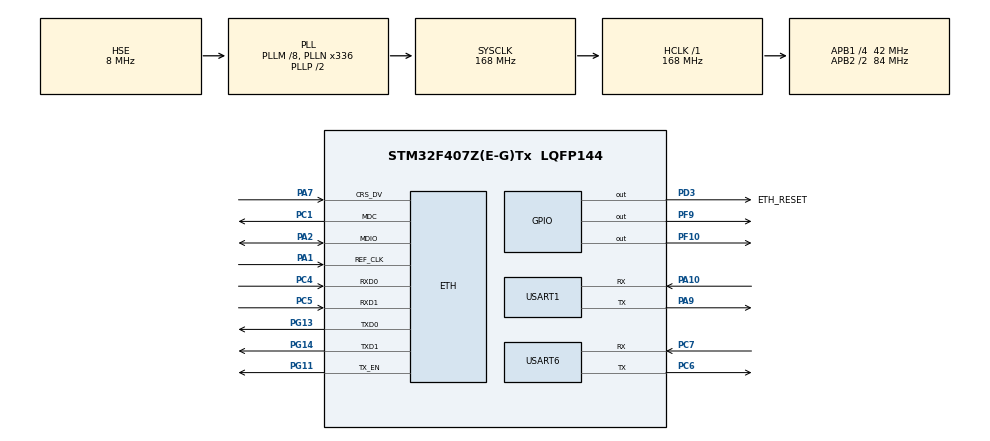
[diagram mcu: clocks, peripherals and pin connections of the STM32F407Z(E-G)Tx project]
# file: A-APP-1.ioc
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ETH.MediaInterface=HAL_ETH_RMII_MODE
FREERTOS.Tasks01=defaultTask,24,128,StartDefaultTask,Default,NULL,Dynamic,NULL,NULL
IWDG.Prescaler=IWDG_PRESCALER_64
IWDG.Reload=2499
LWIP.BSP.number=1
LWIP.GATEWAY_ADDRESS=192.168.010.001
LWIP.IP_ADDRESS=192.168.010.002
LWIP.LWIP_DHCP=0
LWIP.LWIP_UDP=0
LWIP.NETMASK_ADDRESS=255.255.255.000
LWIP.Version=v2.1.2_Cube
LWIP0.BSP.STBoard=false
LWIP0.BSP.api=BSP_COMPONENT_DRIVER
LWIP0.BSP.component=USER_PHY
LWIP0.BSP.instance=USER_PHY
LWIP0.BSP.name=Driver_PHY
LWIP0.BSP.semaphore=S_USER_PHY
LWIP0.BSP.solution=USER_PHY
Mcu.Family=STM32F4
Mcu.Name=STM32F407Z(E-G)Tx
Mcu.Package=LQFP144
NVIC.ETH_IRQn=true\:5\:0\:false\:false\:true\:true\:false\:true\:true
NVIC.PriorityGroup=NVIC_PRIORITYGROUP_4
NVIC.TIM6_DAC_IRQn=true\:15\:0\:false\:false\:true\:false\:false\:true\:true
NVIC.TimeBase=TIM6_DAC_IRQn
NVIC.TimeBaseIP=TIM6
NVIC.USART1_IRQn=true\:5\:0\:true\:false\:true\:true\:true\:true\:true
PA1.Mode=RMII
PA1.Signal=ETH_REF_CLK
PA10.Mode=Asynchronous
PA10.Signal=USART1_RX
PA13.Mode=Serial_Wire
PA13.Signal=SYS_JTMS-SWDIO
PA14.Mode=Serial_Wire
PA14.Signal=SYS_JTCK-SWCLK
PA2.Mode=RMII
PA2.Signal=ETH_MDIO
PA7.Mode=RMII
PA7.Signal=ETH_CRS_DV
PA9.Mode=Asynchronous
PA9.Signal=USART1_TX
PC1.Mode=RMII
PC1.Signal=ETH_MDC
PC14-OSC32_IN.Mode=LSE-External-Oscillator
PC14-OSC32_IN.Signal=RCC_OSC32_IN
PC15-OSC32_OUT.Mode=LSE-External-Oscillator
PC15-OSC32_OUT.Signal=RCC_OSC32_OUT
PC4.Mode=RMII
PC4.Signal=ETH_RXD0
PC5.Mode=RMII
PC5.Signal=ETH_RXD1
PC6.Mode=Asynchronous
PC6.Signal=USART6_TX
PC7.Mode=Asynchronous
PC7.Signal=USART6_RX
PD3.GPIO_Label=ETH_RESET
PD3.Signal=GPIO_Output
PF10.GPIO_PuPd=GPIO_PULLUP
PF10.PinState=GPIO_PIN_SET
PF10.Signal=GPIO_Output
PF9.GPIO_ModeDefaultOutputPP=GPIO_MODE_OUTPUT_PP
PF9.GPIO_PuPd=GPIO_PULLUP
PF9.PinState=GPIO_PIN_SET
PF9.Signal=GPIO_Output
PG11.Mode=RMII
PG11.Signal=ETH_TX_EN
PG13.Mode=RMII
PG13.Signal=ETH_TXD0
PG14.Mode=RMII
PG14.Signal=ETH_TXD1
PH0-OSC_IN.Mode=HSE-External-Oscillator
PH0-OSC_IN.Signal=RCC_OSC_IN
PH1-OSC_OUT.Mode=HSE-External-Oscillator
PH1-OSC_OUT.Signal=RCC_OSC_OUT
ProjectManager.HeapSize=0x200
ProjectManager.StackSize=0x400
ProjectManager.TargetToolchain=MDK-ARM V5.32
RCC.48MHZClocksFreq_Value=84000000
RCC.AHBFreq_Value=168000000
RCC.APB1CLKDivider=RCC_HCLK_DIV4
RCC.APB1Freq_Value=42000000
RCC.APB1TimFreq_Value=84000000
RCC.APB2CLKDivider=RCC_HCLK_DIV2
RCC.APB2Freq_Value=84000000
RCC.APB2TimFreq_Value=168000000
RCC.CortexFreq_Value=168000000
RCC.HCLKFreq_Value=168000000
RCC.HSE_VALUE=8000000
RCC.HSI_VALUE=16000000
RCC.PLLM=8
RCC.PLLN=336
RCC.PLLSourceVirtual=RCC_PLLSOURCE_HSE
RCC.SYSCLKFreq_VALUE=168000000
RCC.SYSCLKSource=RCC_SYSCLKSOURCE_PLLCLK
RCC.VCOOutputFreq_Value=336000000
USART1.VirtualMode=VM_ASYNC
USART6.VirtualMode=VM_ASYNC
VP_FREERTOS_VS_CMSIS_V2.Mode=CMSIS_V2
VP_IWDG_VS_IWDG.Mode=IWDG_Activate
VP_LWIP_VS_Enabled.Mode=Enabled
VP_SYS_VS_tim6.Mode=TIM6
board=custom

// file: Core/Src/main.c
/* USER CODE BEGIN Header */
/**
  ******************************************************************************
  * @file           : main.c
  * @brief          : Main program body
  ******************************************************************************
  * @attention
  *
  * Copyright (c) 2026 STMicroelectronics.
  * All rights reserved.
  *
  * This software is licensed under terms that can be found in the LICENSE file
  * in the root directory of this software component.
  * If no LICENSE file comes with this software, it is provided AS-IS.
  *
  ******************************************************************************
  */
/* USER CODE END Header */
#include "main.h"
#include "cmsis_os.h"
#include "iwdg.h"
#include "lwip.h"
#include "usart.h"
#include "gpio.h"

/* USER CODE BEGIN Includes */
#include "app_trial.h"
#include "ethernetif.h"
#include "netif.h"
#include "lwip.h"
/* USER CODE END Includes */

void SystemClock_Config(void);
void MX_FREERTOS_Init(void);

int main(void)
{

  /* USER CODE BEGIN 1 */
  int32_t phy_link_state;
  /* USER CODE END 1 */

  /* MCU Configuration--------------------------------------------------------*/

  /* Reset of all peripherals, Initializes the Flash interface and the Systick. */
  HAL_Init();

  /* Configure the system clock */
  SystemClock_Config();

  /* Initialize all configured peripherals */
  MX_GPIO_Init();
  MX_USART1_UART_Init();
  MX_IWDG_Init();
  MX_USART6_UART_Init();
  /* USER CODE BEGIN 2 */
	App_TrialInit();
  /* USER CODE END 2 */

  /* Init scheduler */
  osKernelInitialize();  /* Call init function for freertos objects (in cmsis_os2.c) */
  MX_FREERTOS_Init();

  /* Start scheduler */
  osKernelStart();

  /* We should never get here as control is now taken by the scheduler */

  /* Infinite loop */
  while (1)
  {

    /* USER CODE BEGIN 3 */
		//App_TrialProcess();
  }
  /* USER CODE END 3 */
}

void SystemClock_Config(void)
{
  RCC_OscInitTypeDef RCC_OscInitStruct = {0};
  RCC_ClkInitTypeDef RCC_ClkInitStruct = {0};

  /** Configure the main internal regulator output voltage
  */
  __HAL_RCC_PWR_CLK_ENABLE();
  __HAL_PWR_VOLTAGESCALING_CONFIG(PWR_REGULATOR_VOLTAGE_SCALE1);

  /** Initializes the RCC Oscillators according to the specified parameters
  * in the RCC_OscInitTypeDef structure.
  */
  RCC_OscInitStruct.OscillatorType = RCC_OSCILLATORTYPE_LSI|RCC_OSCILLATORTYPE_HSE;
  RCC_OscInitStruct.HSEState = RCC_HSE_ON;
  RCC_OscInitStruct.LSIState = RCC_LSI_ON;
  RCC_OscInitStruct.PLL.PLLState = RCC_PLL_ON;
  RCC_OscInitStruct.PLL.PLLSource = RCC_PLLSOURCE_HSE;
  RCC_OscInitStruct.PLL.PLLM = 8;
  RCC_OscInitStruct.PLL.PLLN = 336;
  RCC_OscInitStruct.PLL.PLLP = RCC_PLLP_DIV2;
  RCC_OscInitStruct.PLL.PLLQ = 4;
  if (HAL_RCC_OscConfig(&RCC_OscInitStruct) != HAL_OK)
  {
    Error_Handler();
  }

  /** Initializes the CPU, AHB and APB buses clocks
  */
  RCC_ClkInitStruct.ClockType = RCC_CLOCKTYPE_HCLK|RCC_CLOCKTYPE_SYSCLK
                              |RCC_CLOCKTYPE_PCLK1|RCC_CLOCKTYPE_PCLK2;
  RCC_ClkInitStruct.SYSCLKSource = RCC_SYSCLKSOURCE_PLLCLK;
  RCC_ClkInitStruct.AHBCLKDivider = RCC_SYSCLK_DIV1;
  RCC_ClkInitStruct.APB1CLKDivider = RCC_HCLK_DIV4;
  RCC_ClkInitStruct.APB2CLKDivider = RCC_HCLK_DIV2;

  if (HAL_RCC_ClockConfig(&RCC_ClkInitStruct, FLASH_LATENCY_5) != HAL_OK)
  {
    Error_Handler();
  }
}

void HAL_TIM_PeriodElapsedCallback(TIM_HandleTypeDef *htim)
{
  if (htim->Instance == TIM6)
  {
    HAL_IncTick();
  }
}

void Error_Handler(void)
{
  __disable_irq();
  while (1)
  {
  }
}

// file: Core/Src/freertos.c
/* USER CODE BEGIN Header */
/**
  ******************************************************************************
  * File Name          : freertos.c
  * Description        : Code for freertos applications
  ******************************************************************************
  * @attention
  *
  * Copyright (c) 2026 STMicroelectronics.
  * All rights reserved.
  *
  * This software is licensed under terms that can be found in the LICENSE file
  * in the root directory of this software component.
  * If no LICENSE file comes with this software, it is provided AS-IS.
  *
  ******************************************************************************
  */
/* USER CODE END Header */

#include "FreeRTOS.h"
#include "task.h"
#include "main.h"
#include "cmsis_os.h"

/* USER CODE BEGIN Includes */
#include "tcp_server.h"
#include <stdio.h>
#include "app_trial.h"
/* USER CODE END Includes */

/* USER CODE BEGIN Variables */
osThreadId_t ledTaskHandle;
osThreadId_t tcpServerTaskHandle;
osThreadId_t AppTrialHandle;

const osThreadAttr_t ledTask_attributes =
{
    .name = "ledTask",
    .stack_size = 128 * 4,
    .priority = (osPriority_t)osPriorityLow,
};

const osThreadAttr_t tcpServerTask_attributes =
{
    .name = "tcpServerTask",
    .stack_size = 512 * 4,
    .priority = (osPriority_t)osPriorityBelowNormal,
};

const osThreadAttr_t apptrial_attributes =
{
    .name = "apptrial",
    .stack_size = 128 * 4,
    .priority = (osPriority_t)osPriorityLow,
};

/* USER CODE END Variables */
/* Definitions for defaultTask */
osThreadId_t defaultTaskHandle;
const osThreadAttr_t defaultTask_attributes = {
  .name = "defaultTask",
  .stack_size = 128 * 4,
  .priority = (osPriority_t) osPriorityNormal,
};

/* USER CODE BEGIN FunctionPrototypes */
void StartLedTask(void *argument);
void AppTrialProcess(void *argument);
/* USER CODE END FunctionPrototypes */

void StartDefaultTask(void *argument);

extern void MX_LWIP_Init(void);
void MX_FREERTOS_Init(void); /* (MISRA C 2004 rule 8.1) */

void MX_FREERTOS_Init(void) {

  /* Create the thread(s) */
  /* creation of defaultTask */
  defaultTaskHandle = osThreadNew(StartDefaultTask, NULL, &defaultTask_attributes);

  /* USER CODE BEGIN RTOS_THREADS */
  /* add threads, ... */
  ledTaskHandle = osThreadNew(StartLedTask,NULL,&ledTask_attributes);

  AppTrialHandle = osThreadNew(AppTrialProcess,NULL,&apptrial_attributes);
  /* USER CODE END RTOS_THREADS */

}

void StartDefaultTask(void *argument)
{
  /* init code for LWIP */
  MX_LWIP_Init();
  /* USER CODE BEGIN StartDefaultTask */
  tcpServerTaskHandle = osThreadNew(TcpServerTask, NULL,&tcpServerTask_attributes);
  if (tcpServerTaskHandle == NULL)
  {
    printf("TCP: task create failed\r\n");
  }

  /* Infinite loop */
  for(;;)
  {
    osDelay(1);
  }
  /* USER CODE END StartDefaultTask */
}

/* USER CODE BEGIN Application */

void StartLedTask(void *argument)
{
    for (;;)
    {
        HAL_GPIO_TogglePin(GPIOF, GPIO_PIN_9);
				HAL_GPIO_TogglePin(GPIOF, GPIO_PIN_10);
        osDelay(500);
    }
}

void AppTrialProcess(void *argument)
{
    for (;;)
    {
      App_TrialProcess();
        osDelay(500);
    }
}
/* USER CODE END Application */
